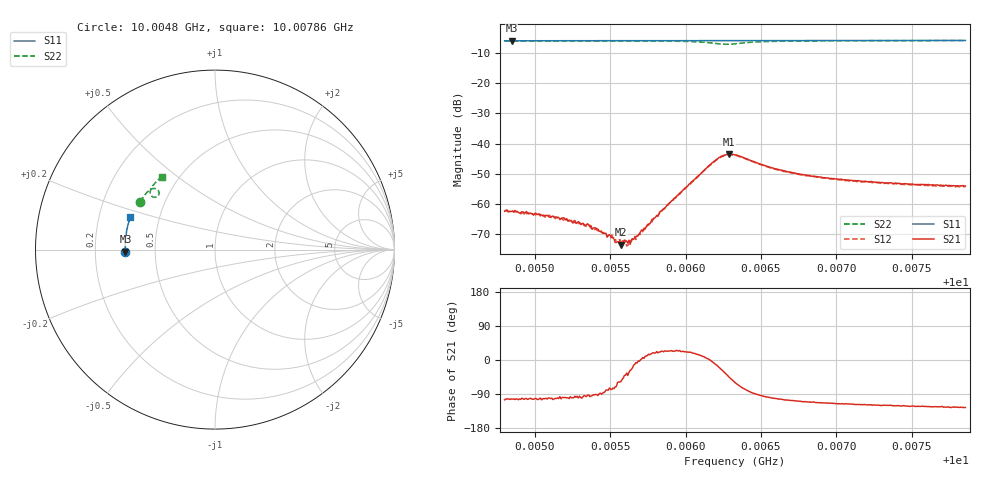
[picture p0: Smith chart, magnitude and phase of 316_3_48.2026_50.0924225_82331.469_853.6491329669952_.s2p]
#  HZ  S  RI  R  50.00
! Rohde & Schwarz Vector Network Analyzer
! Rohde-Schwarz,ZNB20-2Port,1311601062101988,3.16
! Created: UTC 3/20/2024, 11:50:12 AM
! freq[Hz]  re:S11  im:S11  re:S21  im:S21  re:S12  im:S12  re:S22  im:S22
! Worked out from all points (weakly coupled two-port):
!   401 points, 10.0048 GHz to 10.00786 GHz, reference 50 ohm
!   highest |S21| = -43.48 dB at 10.00629 GHz (marker M1); lowest = -73.4 dB at 10.00557 GHz (marker M2)
!   lowest |S11| = -6.0 dB at 10.00485 GHz (marker M3), VSWR 2.99, Z = 16.7 - j0.54 ohm
!   |S11| at or under -10 dB: nowhere
!   |S22| runs from -7.2 to -6.0 dB; largest |S21 - S12| = 0.00038
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1.0004799e10  -0.4991 -0.0151  -0.000199 -0.000736  -0.000131 -0.000771  -0.4161 0.2661
1.0004845e10  -0.4991 -0.0121  -0.000162 -0.000735  -0.000134 -0.00075  -0.4144 0.2688
1.000509e10  -0.4999 0.00376  -0.000112 -0.000622  -8.64e-05 -0.000649  -0.4055 0.2833
1.0005197e10  -0.4999 0.0107  -9e-05 -0.000574  -6.71e-05 -0.00055  -0.4015 0.2898
1.0005311e10  -0.4999 0.0181  -8.58e-05 -0.00046  -4.25e-05 -0.000473  -0.3968 0.2965
1.0005403e10  -0.4999 0.0242  -5.94e-06 -0.000404  1.25e-05 -0.000389  -0.3927 0.302
1.000551e10  -0.4998 0.031  5.88e-05 -0.000273  8.98e-05 -0.000296  -0.3879 0.3085
1.0005541e10  -0.4996 0.033  7.99e-05 -0.000219  0.000122 -0.000217  -0.3863 0.3104
1.0005571e10  -0.4996 0.035  0.000119 -0.000179  0.000142 -0.000187  -0.3847 0.3123
1.0005602e10  -0.4995 0.037  0.000192 -0.000161  0.000198 -0.000139  -0.3829 0.3143
1.0005625e10  -0.4993 0.0385  0.000214 -0.000135  0.000198 -0.000107  -0.3818 0.3157
1.0005678e10  -0.4993 0.0421  0.000291 -3.97e-05  0.000298 -1.71e-05  -0.3788 0.3191
1.0005823e10  -0.4987 0.0513  0.000649 0.000249  0.000622 0.000274  -0.3689 0.3283
1.0006167e10  -0.4962 0.0734  0.00456 -0.000139  0.00447 7.76e-05  -0.3186 0.3325
1.0006236e10  -0.4954 0.0776  0.00561 -0.00254  0.00557 -0.0022  -0.3117 0.3111
1.000629e10  -0.4951 0.0808  0.00471 -0.00477  0.0048 -0.00444  -0.3231 0.2947
1.0006328e10  -0.495 0.0831  0.00332 -0.00559  0.00353 -0.00532  -0.3363 0.2912
1.000658e10  -0.4928 0.0993  -0.00072 -0.00388  -0.000534 -0.00384  -0.3602 0.3291
1.000684e10  -0.4898 0.1157  -0.00105 -0.0027  -0.000925 -0.0027  -0.349 0.3527
1.0007069e10  -0.4867 0.1304  -0.00107 -0.00223  -0.000981 -0.00225  -0.3377 0.3673
1.0007352e10  -0.4822 0.1481  -0.0011 -0.00194  -0.00102 -0.00193  -0.3236 0.3825
1.0007856e10  -0.4725 0.179  -0.00116 -0.00163  -0.00102 -0.00164  -0.298 0.4056
